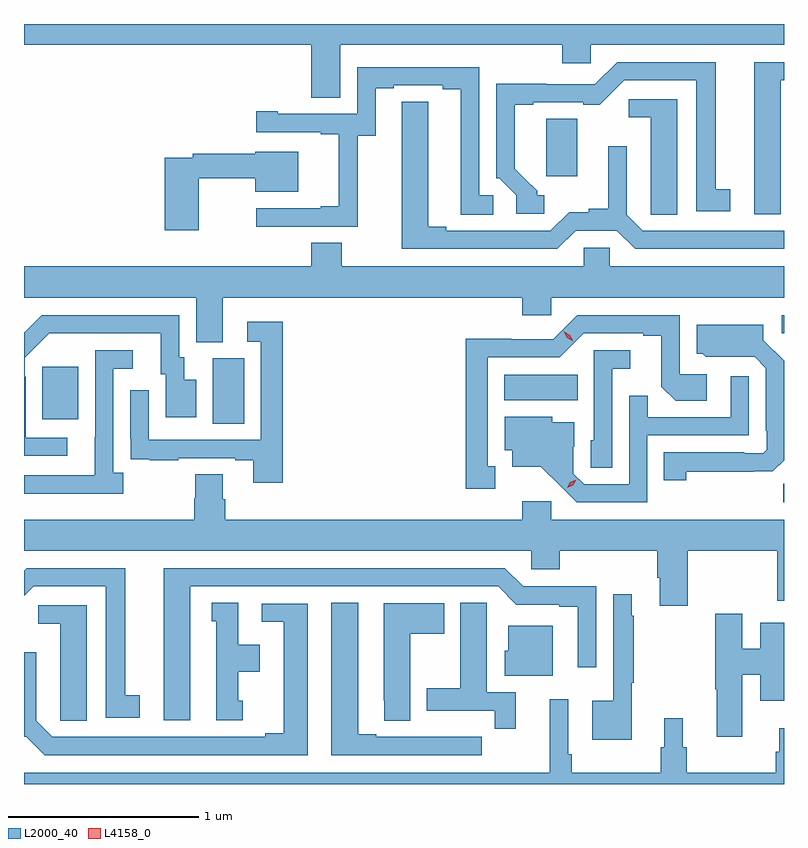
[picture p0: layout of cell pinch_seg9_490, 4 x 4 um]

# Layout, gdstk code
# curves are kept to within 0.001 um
import gdstk
lib = gdstk.Library(unit=1e-6, precision=1e-09)
def R(c, l, rs):  # rectangles x0, y0, x1, y1
    for r in rs: c.add(gdstk.rectangle(r[:2], r[2:], *l))
def P(c, l, *ps):  # polygons
    for p in ps: c.add(gdstk.Polygon(p, *l))
L2000_40 = (2000, 40)
L4158_0 = (4158, 0)

pinch_seg9_490 = lib.new_cell('pinch_seg9_490')
R(pinch_seg9_490, L2000_40, [(279.364,1202.004,279.368,1202.099), (276.362,1202.416,276.526,1202.76), (275.465,1202.441,275.653,1202.716), (277.895,1202.54,278.282,1202.674), (279.357,1202.892,279.368,1202.988)])
P(pinch_seg9_490, L2000_40, [(277.033,1204.412),(278.201,1204.412),(278.201,1204.314),(278.352,1204.314),(278.352,1204.412),(279.368,1204.412),(279.368,1204.52),(275.368,1204.52),(275.368,1204.412),(276.881,1204.412),(276.881,1204.132),(277.033,1204.132)],
  [(278.107,1203.618),(278.068,1203.618),(278.068,1203.642),(277.951,1203.758),(277.951,1204.095),(278.047,1204.095),(278.047,1204.107),(278.312,1204.107),(278.312,1204.096),(278.398,1204.096),(278.526,1204.224),(278.906,1204.224),(278.906,1203.534),(279.085,1203.534),(279.085,1203.65),(279.01,1203.65),(279.01,1204.32),(278.49,1204.32),(278.373,1204.203),(278.117,1204.203),(278.117,1204.205),(277.854,1204.205),(277.854,1203.708),(277.869,1203.708),(277.959,1203.618),(277.959,1203.522),(278.107,1203.522)],
  [(279.352,1204.224),(279.368,1204.224),(279.368,1204.32),(279.212,1204.32),(279.212,1203.519),(279.352,1203.519)],
  [(277.125,1203.931),(277.219,1203.931),(277.219,1204.182),(277.315,1204.182),(277.315,1204.197),(277.571,1204.197),(277.571,1204.177),(277.667,1204.177),(277.667,1203.517),(277.837,1203.517),(277.837,1203.618),(277.764,1203.618),(277.764,1204.293),(277.122,1204.293),(277.122,1204.047),(276.703,1204.047),(276.703,1204.06),(276.591,1204.06),(276.591,1203.951),(276.929,1203.951),(276.929,1203.939),(277.025,1203.939),(277.025,1203.562),(276.929,1203.562),(276.929,1203.549),(276.591,1203.549),(276.591,1203.453),(277.125,1203.453)],
  [(278.806,1204.125),(278.55,1204.125),(278.55,1204.028),(278.666,1204.028),(278.666,1203.625),(278.667,1203.625),(278.667,1203.517),(278.806,1203.517)],
  [(278.271,1203.432),(278.489,1203.432),(278.585,1203.336),(279.368,1203.336),(279.368,1203.432),(278.625,1203.432),(278.541,1203.516),(278.541,1203.877),(278.444,1203.877),(278.444,1203.548),(278.34,1203.548),(278.34,1203.53),(278.237,1203.53),(278.139,1203.432),(277.591,1203.432),(277.591,1203.452),(277.495,1203.452),(277.495,1204.112),(277.356,1204.112),(277.355,1203.336),(278.175,1203.336)],
  [(278.281,1203.864),(278.28,1203.864),(278.28,1204.022),(278.117,1204.022),(278.117,1203.72),(278.281,1203.72)],
  [(276.288,1203.708),(276.584,1203.708),(276.584,1203.638),(276.811,1203.638),(276.811,1203.847),(276.584,1203.847),(276.584,1203.836),(276.256,1203.836),(276.256,1203.816),(276.11,1203.816),(276.11,1203.435),(276.288,1203.435)],
  [(276.415,1203.08),(277.991,1203.08),(277.991,1202.987),(278.142,1202.987),(278.142,1203.08),(279.368,1203.08),(279.368,1203.244),(278.451,1203.244),(278.451,1203.342),(278.313,1203.342),(278.313,1203.244),(277.041,1203.244),(277.041,1203.368),(276.881,1203.368),(276.881,1203.244),(275.368,1203.244),(275.368,1203.08),(276.275,1203.08),(276.275,1202.845),(276.415,1202.845)],
  [(277.849,1202.193),(277.81,1202.193),(277.81,1202.766),(278.187,1202.766),(278.313,1202.892),(278.627,1202.892),(278.627,1202.88),(278.721,1202.88),(278.721,1202.612),(278.797,1202.536),(278.962,1202.536),(278.962,1202.676),(278.82,1202.676),(278.82,1202.988),(278.28,1202.988),(278.154,1202.862),(277.932,1202.862),(277.932,1202.864),(277.692,1202.864),(277.692,1202.073),(277.849,1202.073)],
  [(275.596,1202.343),(275.376,1202.343),(275.376,1202.663),(275.373,1202.663),(275.373,1202.763),(275.502,1202.892),(276.089,1202.892),(276.089,1202.676),(276.113,1202.676),(276.113,1202.451),(276.274,1202.451),(276.274,1202.647),(276.211,1202.647),(276.211,1202.766),(276.186,1202.766),(276.186,1202.988),(275.462,1202.988),(275.371,1202.897),(275.37,1202.898),(275.368,1202.896),(275.368,1202.247),(275.596,1202.247)],
  [(276.731,1202.953),(276.543,1202.953),(276.543,1202.847),(276.615,1202.847),(276.615,1202.331),(276.024,1202.331),(276.024,1202.593),(275.928,1202.593),(275.928,1202.338),(275.929,1202.338),(275.929,1202.229),(276.031,1202.229),(276.031,1202.223),(276.179,1202.223),(276.179,1202.235),(276.479,1202.235),(276.479,1202.223),(276.575,1202.223),(276.575,1202.106),(276.731,1202.106)],
  [(278.853,1202.164),(279.31,1202.165),(279.368,1202.223),(279.368,1202.747),(279.259,1202.856),(279.259,1202.938),(278.909,1202.938),(278.909,1202.784),(278.94,1202.784),(278.956,1202.768),(279.213,1202.769),(279.273,1202.709),(279.273,1202.38),(279.276,1202.38),(279.276,1202.28),(279.258,1202.262),(279.158,1202.262),(279.158,1202.265),(278.734,1202.265),(278.734,1202.118),(278.853,1202.118)],
  [(275.89,1202.158),(275.838,1202.158),(275.838,1202.706),(275.941,1202.706),(275.941,1202.802),(275.742,1202.802),(275.742,1202.345),(275.741,1202.345),(275.741,1202.145),(275.368,1202.145),(275.368,1202.048),(275.89,1202.048)],
  [(278.463,1202.705),(278.56,1202.705),(278.56,1202.802),(278.367,1202.802),(278.367,1202.328),(278.352,1202.328),(278.352,1202.185),(278.463,1202.185)],
  [(278.649,1202.355),(279.183,1202.355),(279.183,1202.665),(279.087,1202.665),(279.087,1202.451),(278.651,1202.451),(278.651,1202.564),(278.553,1202.564),(278.553,1202.097),(278.316,1202.097),(278.259,1202.154),(278.259,1202.296),(278.263,1202.296),(278.263,1202.425),(278.148,1202.425),(278.148,1202.452),(277.898,1202.452),(277.898,1202.276),(277.937,1202.276),(277.937,1202.189),(278.089,1202.189),(278.276,1202.004),(278.649,1202.004)],
  [(278.862,1201.748),(279.333,1201.748),(279.333,1201.485),(279.368,1201.485),(279.368,1201.912),(278.142,1201.912),(278.142,1202.008),(277.991,1202.008),(277.991,1201.912),(276.428,1201.912),(276.428,1202.018),(276.415,1202.018),(276.415,1202.15),(276.268,1202.15),(276.268,1202.025),(276.263,1202.025),(276.263,1201.912),(275.368,1201.912),(275.368,1201.748),(278.037,1201.748),(278.037,1201.65),(278.189,1201.65),(278.189,1201.748),(278.702,1201.748),(278.702,1201.606),(278.714,1201.606),(278.714,1201.458),(278.862,1201.458)],
  [(275.977,1200.986),(275.902,1200.986),(275.902,1201.656),(275.382,1201.656),(275.368,1201.642),(275.368,1201.51),(275.418,1201.56),(275.798,1201.56),(275.798,1200.87),(275.977,1200.87)],
  [(276.244,1201.56),(277.863,1201.56),(277.959,1201.464),(278.186,1201.464),(278.186,1201.452),(278.282,1201.452),(278.282,1201.134),(278.379,1201.134),(278.379,1201.56),(277.995,1201.56),(277.899,1201.656),(276.104,1201.656),(276.104,1200.855),(276.244,1200.855)],
  [(278.566,1201.054),(278.578,1201.054),(278.578,1201.406),(278.566,1201.406),(278.566,1201.519),(278.469,1201.519),(278.469,1200.958),(278.36,1200.958),(278.36,1200.752),(278.566,1200.752)],
  [(276.52,1200.957),(276.496,1200.957),(276.496,1201.112),(276.61,1201.112),(276.61,1201.252),(276.496,1201.252),(276.496,1201.475),(276.356,1201.475),(276.356,1201.377),(276.38,1201.377),(276.38,1200.855),(276.52,1200.855)],
  [(277.777,1200.768),(277.664,1200.768),(277.664,1200.769),(277.498,1200.769),(277.498,1200.768),(277.222,1200.768),(277.222,1200.783),(277.126,1200.783),(277.126,1201.475),(276.986,1201.475),(276.986,1200.672),(277.777,1200.672)],
  [(277.955,1201.002),(277.804,1201.002),(277.804,1201.364),(277.803,1201.364),(277.803,1201.475),(277.664,1201.475),(277.664,1201.023),(277.487,1201.023),(277.487,1200.906),(277.846,1200.906),(277.846,1200.81),(277.955,1200.81)],
  [(277.402,1201.312),(277.579,1201.312),(277.579,1201.471),(277.262,1201.471),(277.262,1200.961),(277.263,1200.961),(277.263,1200.853),(277.402,1200.853)],
  [(276.862,1201.47),(276.618,1201.47),(276.618,1201.374),(276.734,1201.374),(276.734,1200.788),(276.638,1200.788),(276.638,1200.768),(275.517,1200.768),(275.433,1200.852),(275.433,1201.213),(275.368,1201.213),(275.368,1200.768),(275.381,1200.768),(275.477,1200.672),(276.862,1200.672)],
  [(275.698,1201.461),(275.442,1201.461),(275.442,1201.364),(275.558,1201.364),(275.558,1200.961),(275.559,1200.961),(275.559,1200.853),(275.698,1200.853)],
  [(279.148,1201.096),(279.242,1201.096),(279.242,1200.959),(279.368,1200.959),(279.368,1201.369),(279.242,1201.369),(279.242,1201.232),(279.148,1201.232),(279.148,1201.417),(279.007,1201.417),(279.007,1201.019),(279.014,1201.019),(279.014,1200.768),(279.148,1200.768)],
  [(278.152,1201.354),(277.916,1201.354),(277.916,1201.221),(277.898,1201.221),(277.898,1201.091),(278.152,1201.091)],
  [(279.368,1200.814),(279.344,1200.814),(279.344,1200.689),(279.325,1200.689),(279.325,1200.58),(278.855,1200.58),(278.855,1200.714),(278.836,1200.714),(278.836,1200.865),(278.738,1200.865),(278.738,1200.714),(278.719,1200.714),(278.719,1200.58),(278.252,1200.58),(278.252,1200.676),(278.232,1200.676),(278.232,1200.967),(278.135,1200.967),(278.135,1200.58),(275.368,1200.58),(275.368,1200.52),(279.368,1200.52)])
P(pinch_seg9_490, L4158_0, [(278.226,1202.078),(278.226,1202.078),(278.243,1202.107),(278.274,1202.122),(278.274,1202.122),(278.274,1202.122),(278.257,1202.092),(278.226,1202.078)],
  [(278.258,1202.85),(278.226,1202.869),(278.208,1202.902),(278.208,1202.902),(278.208,1202.902),(278.24,1202.883),(278.258,1202.85),(278.258,1202.85)])

lib.write_gds('pinch_seg9_490.gds')
